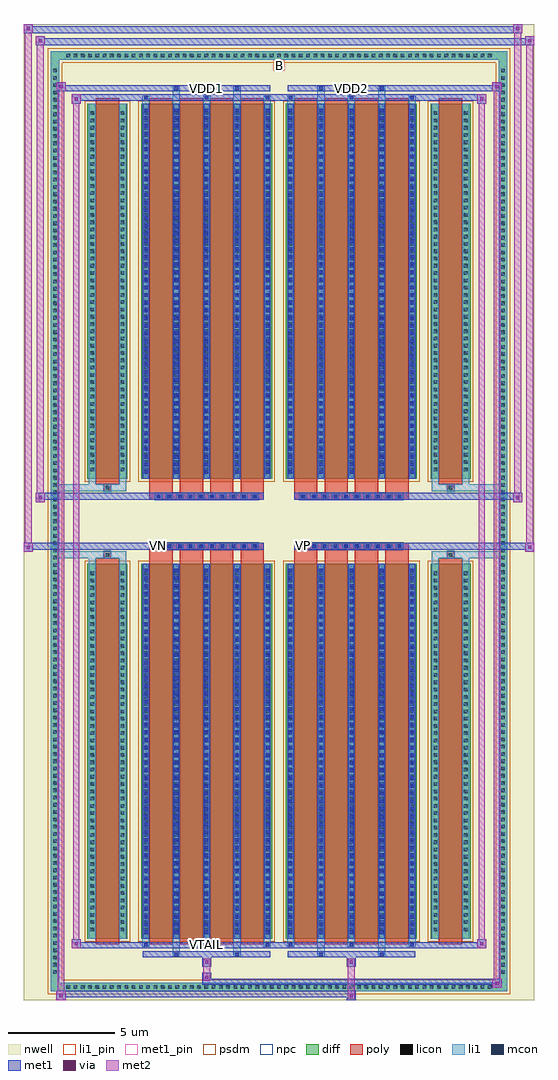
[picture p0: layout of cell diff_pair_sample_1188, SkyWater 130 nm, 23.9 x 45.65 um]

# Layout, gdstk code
import gdstk
lib = gdstk.Library(unit=1e-6, precision=5e-09)
def R(c, l, rs):  # rectangles x0, y0, x1, y1
    for r in rs: c.add(gdstk.rectangle(r[:2], r[2:], *l))
def A(c, l, x, y, w, h, nx, ny, dx, dy):  # array of equal rectangles
    R(c, l, [(x+i*dx, y+j*dy, x+i*dx+w, y+j*dy+h) for i in range(nx) for j in range(ny)])
def P(c, l, *ps):  # polygons
    for p in ps: c.add(gdstk.Polygon(p, *l))
nwell = (64, 20)
diff = (65, 20)
poly = (66, 20)
licon = (66, 44)
li1_pin = (67, 16)
li1 = (67, 20)
mcon = (67, 44)
met1_pin = (68, 16)
met1 = (68, 20)
via = (68, 44)
met2 = (69, 20)
psdm = (94, 20)
npc = (95, 20)

diff_pair_sample_1188 = lib.new_cell('diff_pair_sample_1188')
R(diff_pair_sample_1188, nwell, [(-11.95,-22.39,11.95,23.26), (-9.27,-20.58,-0.01,-0.8), (0.01,-20.58,9.27,-0.8), (-9.27,0.8,-0.01,20.58), (0.01,0.8,9.27,20.58)])
A(diff_pair_sample_1188, diff, -10.065, -21.99, 0.41, 0.41, 59, 2, 0.34, 43.57)
A(diff_pair_sample_1188, diff, -10.68, -21.285, 0.41, 0.41, 1, 125, 0, 0.34)
A(diff_pair_sample_1188, diff, 10.27, -21.285, 0.41, 0.41, 1, 125, 0, 0.34)
R(diff_pair_sample_1188, diff, [(-10.065,-21.99,10.065,-21.58), (-10.68,-21.285,-10.27,21.285), (10.27,-21.285,10.68,21.285), (-8.96,-19.535,-7.09,-1.985), (-6.45,-19.535,-0.32,-1.985), (0.32,-19.535,6.45,-1.985), (7.09,-19.535,8.96,-1.985), (-8.96,1.985,-7.09,19.535), (-6.45,1.985,-0.32,19.535), (0.32,1.985,6.45,19.535), (7.09,1.985,8.96,19.535), (-10.065,21.58,10.065,21.99)])
P(diff_pair_sample_1188, diff, [(10.68,21.99),(-10.68,21.99),(-10.68,-21.58),(-10.27,-21.58),(-10.27,21.58),(10.27,21.58),(10.27,-21.58),(-10.27,-21.58),(-10.68,-21.58),(-10.68,-21.99),(10.68,-21.99)])
A(diff_pair_sample_1188, poly, -6.06, -19.785, 1.09, 18.05, 4, 2, 1.42, 21.52)
A(diff_pair_sample_1188, poly, 0.71, -19.785, 1.09, 18.05, 4, 2, 1.42, 21.52)
A(diff_pair_sample_1188, poly, -6.06, -1.735, 1.09, 0.405, 4, 2, 1.42, 3.065)
A(diff_pair_sample_1188, poly, 0.71, -1.735, 1.09, 0.405, 4, 2, 1.42, 3.065)
A(diff_pair_sample_1188, poly, -5.8, -1.33, 0.33, 0.33, 10, 2, 0.5, 2.33)
A(diff_pair_sample_1188, poly, 0.97, -1.33, 0.33, 0.33, 10, 2, 0.5, 2.33)
R(diff_pair_sample_1188, poly, [(-8.57,-19.785,-7.48,-1.735), (7.48,-19.785,8.57,-1.735), (-8.19,-1.735,-7.86,-1.405), (-8.19,-1.735,-7.86,-1.405), (7.86,-1.735,8.19,-1.405), (7.86,-1.735,8.19,-1.405), (-6.06,-1.33,-0.71,-1), (0.71,-1.33,6.06,-1), (-6.06,1,-0.71,1.33), (0.71,1,6.06,1.33), (-8.19,1.405,-7.86,1.735), (-8.19,1.405,-7.86,1.735), (7.86,1.405,8.19,1.735), (7.86,1.405,8.19,1.735), (-8.57,1.735,-7.48,19.785), (7.48,1.735,8.57,19.785)])
A(diff_pair_sample_1188, licon, -9.945, -21.87, 0.17, 0.17, 59, 2, 0.34, 43.57)
A(diff_pair_sample_1188, licon, -10.56, -21.165, 0.17, 0.17, 1, 125, 0, 0.34)
A(diff_pair_sample_1188, licon, 10.39, -21.165, 0.17, 0.17, 1, 125, 0, 0.34)
A(diff_pair_sample_1188, licon, -8.82, -19.175, 0.17, 0.17, 1, 50, 0, 0.34)
A(diff_pair_sample_1188, licon, -7.4, -19.175, 0.17, 0.17, 1, 50, 0, 0.34)
A(diff_pair_sample_1188, licon, -6.31, -19.175, 0.17, 0.17, 5, 50, 1.42, 0.34)
A(diff_pair_sample_1188, licon, 0.46, -19.175, 0.17, 0.17, 5, 50, 1.42, 0.34)
A(diff_pair_sample_1188, licon, 7.23, -19.175, 0.17, 0.17, 1, 50, 0, 0.34)
A(diff_pair_sample_1188, licon, 8.65, -19.175, 0.17, 0.17, 1, 50, 0, 0.34)
A(diff_pair_sample_1188, licon, -5.72, -1.25, 0.17, 0.17, 10, 2, 0.5, 2.33)
A(diff_pair_sample_1188, licon, 1.05, -1.25, 0.17, 0.17, 10, 2, 0.5, 2.33)
A(diff_pair_sample_1188, licon, -8.82, 2.345, 0.17, 0.17, 1, 50, 0, 0.34)
A(diff_pair_sample_1188, licon, -7.4, 2.345, 0.17, 0.17, 1, 50, 0, 0.34)
A(diff_pair_sample_1188, licon, -6.31, 2.345, 0.17, 0.17, 5, 50, 1.42, 0.34)
A(diff_pair_sample_1188, licon, 0.46, 2.345, 0.17, 0.17, 5, 50, 1.42, 0.34)
A(diff_pair_sample_1188, licon, 7.23, 2.345, 0.17, 0.17, 1, 50, 0, 0.34)
A(diff_pair_sample_1188, licon, 8.65, 2.345, 0.17, 0.17, 1, 50, 0, 0.34)
R(diff_pair_sample_1188, licon, [(-8.11,-1.655,-7.94,-1.485), (7.94,-1.655,8.11,-1.485), (-8.11,1.485,-7.94,1.655), (7.94,1.485,8.11,1.655)])
R(diff_pair_sample_1188, li1_pin, [(-0.25,21.08,0.25,21.58)])
A(diff_pair_sample_1188, li1, -10.025, -21.95, 0.33, 0.33, 59, 2, 0.34, 43.57)
A(diff_pair_sample_1188, li1, -10.64, -21.245, 0.33, 0.33, 1, 125, 0, 0.34)
A(diff_pair_sample_1188, li1, 10.31, -21.245, 0.33, 0.33, 1, 125, 0, 0.34)
A(diff_pair_sample_1188, li1, -6.39, -19.91, 0.33, 0.375, 3, 2, 2.84, 39.445)
A(diff_pair_sample_1188, li1, -6.31, -19.91, 0.17, 0.17, 3, 2, 2.84, 39.65)
A(diff_pair_sample_1188, li1, 0.38, -19.91, 0.33, 0.375, 3, 2, 2.84, 39.445)
A(diff_pair_sample_1188, li1, 0.46, -19.91, 0.17, 0.17, 3, 2, 2.84, 39.65)
A(diff_pair_sample_1188, li1, -6.39, -19.535, 0.33, 17.55, 5, 2, 1.42, 21.52)
A(diff_pair_sample_1188, li1, 0.38, -19.535, 0.33, 17.55, 5, 2, 1.42, 21.52)
A(diff_pair_sample_1188, li1, -6.31, -19.305, 0.17, 0.17, 5, 48, 1.42, 0.36)
A(diff_pair_sample_1188, li1, -6.31, -19.305, 0.17, 17.09, 5, 2, 1.42, 21.52)
A(diff_pair_sample_1188, li1, 0.46, -19.305, 0.17, 0.17, 5, 48, 1.42, 0.36)
A(diff_pair_sample_1188, li1, 0.46, -19.305, 0.17, 17.09, 5, 2, 1.42, 21.52)
A(diff_pair_sample_1188, li1, -8.9, -19.255, 0.33, 0.33, 1, 50, 0, 0.34)
A(diff_pair_sample_1188, li1, -7.48, -19.255, 0.33, 0.33, 1, 50, 0, 0.34)
A(diff_pair_sample_1188, li1, -6.39, -19.255, 0.33, 0.33, 5, 50, 1.42, 0.34)
A(diff_pair_sample_1188, li1, 0.38, -19.255, 0.33, 0.33, 5, 50, 1.42, 0.34)
A(diff_pair_sample_1188, li1, 7.15, -19.255, 0.33, 0.33, 1, 50, 0, 0.34)
A(diff_pair_sample_1188, li1, 8.57, -19.255, 0.33, 0.33, 1, 50, 0, 0.34)
A(diff_pair_sample_1188, li1, -5.8, -1.33, 0.33, 0.33, 10, 2, 0.5, 2.33)
A(diff_pair_sample_1188, li1, 0.97, -1.33, 0.33, 0.33, 10, 2, 0.5, 2.33)
A(diff_pair_sample_1188, li1, -6.31, 2.215, 0.17, 0.17, 5, 48, 1.42, 0.36)
A(diff_pair_sample_1188, li1, 0.46, 2.215, 0.17, 0.17, 5, 48, 1.42, 0.36)
A(diff_pair_sample_1188, li1, -8.9, 2.265, 0.33, 0.33, 1, 50, 0, 0.34)
A(diff_pair_sample_1188, li1, -7.48, 2.265, 0.33, 0.33, 1, 50, 0, 0.34)
A(diff_pair_sample_1188, li1, -6.39, 2.265, 0.33, 0.33, 5, 50, 1.42, 0.34)
A(diff_pair_sample_1188, li1, 0.38, 2.265, 0.33, 0.33, 5, 50, 1.42, 0.34)
A(diff_pair_sample_1188, li1, 7.15, 2.265, 0.33, 0.33, 1, 50, 0, 0.34)
A(diff_pair_sample_1188, li1, 8.57, 2.265, 0.33, 0.33, 1, 50, 0, 0.34)
R(diff_pair_sample_1188, li1, [(-10.68,-21.99,-10.27,-21.58), (-10.68,-21.99,-10.27,-21.58), (-10.27,-21.99,10.27,-21.58), (10.27,-21.99,10.68,-21.58), (10.27,-21.99,10.68,-21.58), (-10.68,-21.58,-10.27,21.58), (10.27,-21.58,10.68,21.58), (-4.97,-20.34,-4.64,-19.535), (-4.89,-20.34,-4.72,-20.17), (-2.13,-20.34,-1.8,-19.535), (-2.05,-20.34,-1.88,-20.17), (1.8,-20.34,2.13,-19.535), (1.88,-20.34,2.05,-20.17), (4.64,-20.34,4.97,-19.535), (4.72,-20.34,4.89,-20.17), (-8.9,-19.535,-8.57,-1.985), (-7.48,-19.535,-7.15,-1.985), (7.15,-19.535,7.48,-1.985), (8.57,-19.535,8.9,-1.985), (-8.9,-1.985,-8.57,-1.405), (-7.48,-1.985,-7.15,-1.405), (7.15,-1.985,7.48,-1.405), (8.57,-1.985,8.9,-1.405), (-10.68,-1.735,-8.19,-1.405), (-8.9,-1.735,-8.19,-1.405), (-8.19,-1.735,-7.86,-1.405), (-7.86,-1.735,-7.15,-1.405), (7.15,-1.735,7.86,-1.405), (7.86,-1.735,8.19,-1.405), (7.86,-1.735,10.68,-1.405), (8.19,-1.735,8.9,-1.405), (-10.68,1.405,-8.19,1.735), (-8.9,1.405,-8.19,1.735), (-8.9,1.405,-8.57,1.985), (-8.19,1.405,-7.86,1.735), (-7.86,1.405,-7.15,1.735), (-7.48,1.405,-7.15,1.985), (7.15,1.405,7.86,1.735), (7.15,1.405,7.48,1.985), (7.86,1.405,8.19,1.735), (7.86,1.405,10.68,1.735), (8.19,1.405,8.9,1.735), (8.57,1.405,8.9,1.985), (-8.9,1.985,-8.57,19.535), (-7.48,1.985,-7.15,19.535), (7.15,1.985,7.48,19.535), (8.57,1.985,8.9,19.535), (-4.97,19.535,-4.64,20.34), (-2.13,19.535,-1.8,20.34), (1.8,19.535,2.13,20.34), (4.64,19.535,4.97,20.34), (-4.89,20.17,-4.72,20.34), (-2.05,20.17,-1.88,20.34), (1.88,20.17,2.05,20.34), (4.72,20.17,4.89,20.34), (-10.68,21.58,-10.27,21.99), (-10.68,21.58,-10.27,21.99), (-10.27,21.58,10.27,21.99), (10.27,21.58,10.68,21.99), (10.27,21.58,10.68,21.99)])
A(diff_pair_sample_1188, mcon, -6.31, -19.91, 0.17, 0.17, 3, 2, 2.84, 39.65)
A(diff_pair_sample_1188, mcon, 0.46, -19.91, 0.17, 0.17, 3, 2, 2.84, 39.65)
A(diff_pair_sample_1188, mcon, -6.31, -19.305, 0.17, 0.17, 5, 48, 1.42, 0.36)
A(diff_pair_sample_1188, mcon, 0.46, -19.305, 0.17, 0.17, 5, 48, 1.42, 0.36)
A(diff_pair_sample_1188, mcon, -5.72, -1.25, 0.17, 0.17, 10, 2, 0.5, 2.33)
A(diff_pair_sample_1188, mcon, 1.05, -1.25, 0.17, 0.17, 10, 2, 0.5, 2.33)
A(diff_pair_sample_1188, mcon, -6.31, 2.215, 0.17, 0.17, 5, 48, 1.42, 0.36)
A(diff_pair_sample_1188, mcon, 0.46, 2.215, 0.17, 0.17, 5, 48, 1.42, 0.36)
R(diff_pair_sample_1188, mcon, [(-4.89,-20.34,-4.72,-20.17), (-2.05,-20.34,-1.88,-20.17), (1.88,-20.34,2.05,-20.17), (4.72,-20.34,4.89,-20.17), (-4.89,20.17,-4.72,20.34), (-2.05,20.17,-1.88,20.34), (1.88,20.17,2.05,20.34), (4.72,20.17,4.89,20.34)])
R(diff_pair_sample_1188, met1_pin, [(-3.52,-19.95,-3.25,-19.68), (-5.77,-1.29,-5.5,-1.02), (1,-1.29,1.27,-1.02), (-3.52,20.13,-3.25,20.4), (3.25,20.13,3.52,20.4)])
A(diff_pair_sample_1188, met1, -6.37, -19.97, 0.29, 0.29, 3, 2, 2.84, 39.65)
A(diff_pair_sample_1188, met1, 0.4, -19.97, 0.29, 0.29, 3, 2, 2.84, 39.65)
A(diff_pair_sample_1188, met1, -6.37, -19.535, 0.29, 17.55, 5, 2, 1.42, 21.52)
A(diff_pair_sample_1188, met1, 0.4, -19.535, 0.29, 17.55, 5, 2, 1.42, 21.52)
A(diff_pair_sample_1188, met1, -6.37, -19.365, 0.29, 0.29, 5, 48, 1.42, 0.36)
A(diff_pair_sample_1188, met1, 0.4, -19.365, 0.29, 0.29, 5, 48, 1.42, 0.36)
A(diff_pair_sample_1188, met1, -5.78, -1.31, 0.29, 0.29, 10, 2, 0.5, 2.33)
A(diff_pair_sample_1188, met1, 0.99, -1.31, 0.29, 0.29, 10, 2, 0.5, 2.33)
A(diff_pair_sample_1188, met1, -6.37, 2.155, 0.29, 0.29, 5, 48, 1.42, 0.36)
A(diff_pair_sample_1188, met1, 0.4, 2.155, 0.29, 0.29, 5, 48, 1.42, 0.36)
R(diff_pair_sample_1188, met1, [(-10.41,-22.39,-9.98,-21.96), (3.17,-22.39,3.6,-21.96), (-10.41,-22.25,3.6,-21.96), (9.98,-21.82,10.41,-21.39), (-3.6,-21.68,10.41,-21.39), (-3.6,-21.54,-3.17,-21.11), (-3.6,-20.83,-3.17,-20.4), (3.17,-20.83,3.6,-20.4), (-6.37,-20.4,-0.4,-20.11), (-4.95,-20.4,-4.66,-20.11), (-2.11,-20.4,-1.82,-20.11), (0.4,-20.4,6.37,-20.11), (1.82,-20.4,2.11,-20.11), (4.66,-20.4,4.95,-20.11), (-9.7,-19.97,-9.27,-19.54), (-9.7,-19.97,-6.37,-19.68), (-6.37,-19.97,-0.4,-19.68), (-0.4,-19.97,0.4,-19.68), (0.4,-19.97,6.37,-19.68), (6.37,-19.97,9.7,-19.68), (9.27,-19.97,9.7,-19.54), (-11.95,-1.43,-11.52,-1), (11.52,-1.43,11.95,-1), (-11.95,-1.33,-0.71,-1), (-6.06,-1.33,-0.71,-1), (0.71,-1.33,6.06,-1), (0.71,-1.33,11.95,-1), (-11.38,0.9,-10.95,1.33), (10.95,0.9,11.38,1.33), (-11.38,1,-6.06,1.33), (-6.06,1,-0.71,1.33), (0.71,1,6.06,1.33), (6.06,1,11.38,1.33), (-9.7,19.54,-9.27,19.97), (9.27,19.54,9.7,19.97), (-9.7,19.68,-6.37,19.97), (-6.37,19.68,-0.4,19.97), (-0.4,19.68,0.4,19.97), (0.4,19.68,6.37,19.97), (6.37,19.68,9.7,19.97), (-10.41,20.11,-9.98,20.54), (-10.41,20.11,-6.37,20.4), (-6.37,20.11,-0.4,20.4), (-4.95,20.11,-4.66,20.4), (-2.11,20.11,-1.82,20.4), (0.4,20.11,6.37,20.4), (1.82,20.11,2.11,20.4), (4.66,20.11,4.95,20.4), (6.37,20.11,10.41,20.4), (9.98,20.11,10.41,20.54), (-11.38,22.26,-10.95,22.69), (-11.38,22.26,-9.27,22.59), (-9.27,22.26,9.27,22.59), (9.27,22.26,11.95,22.59), (11.52,22.26,11.95,22.69), (-11.95,22.83,-11.52,23.26), (-11.95,22.83,-9.27,23.16), (-9.27,22.83,9.27,23.16), (9.27,22.83,11.38,23.16), (10.95,22.83,11.38,23.26)])
R(diff_pair_sample_1188, via, [(-10.27,-22.25,-10.12,-22.1), (3.31,-22.25,3.46,-22.1), (10.12,-21.68,10.27,-21.53), (-3.46,-21.4,-3.31,-21.25), (-3.46,-20.69,-3.31,-20.54), (3.31,-20.69,3.46,-20.54), (-9.56,-19.83,-9.41,-19.68), (9.41,-19.83,9.56,-19.68), (-11.81,-1.29,-11.66,-1.14), (11.66,-1.29,11.81,-1.14), (-11.24,1.04,-11.09,1.19), (11.09,1.04,11.24,1.19), (-9.56,19.68,-9.41,19.83), (9.41,19.68,9.56,19.83), (-10.27,20.25,-10.12,20.4), (10.12,20.25,10.27,20.4), (-11.24,22.4,-11.09,22.55), (11.66,22.4,11.81,22.55), (-11.81,22.97,-11.66,23.12), (11.09,22.97,11.24,23.12)])
R(diff_pair_sample_1188, met2, [(-10.41,-22.39,-9.98,-21.96), (-10.34,-22.39,-10.05,20.54), (-10.05,-22.39,-9.98,-21.96), (-10.36,-22.34,-10.03,-22.01), (3.22,-22.34,3.55,-22.01), (3.22,-22.01,3.55,-20.78), (9.98,-21.82,10.41,-21.39), (10.05,-21.82,10.34,20.54), (10.34,-21.82,10.41,-21.39), (10.03,-21.77,10.36,-21.44), (-3.55,-21.49,-3.22,-21.16), (-3.55,-21.16,-3.22,-20.78), (-3.55,-20.78,-3.22,-20.45), (3.22,-20.78,3.55,-20.45), (-9.7,-19.97,-9.27,-19.54), (-9.63,-19.97,-9.34,19.97), (-9.34,-19.97,-9.27,-19.54), (9.27,-19.97,9.7,-19.54), (9.34,-19.97,9.63,19.97), (9.63,-19.97,9.7,-19.54), (-9.65,-19.92,-9.32,-19.59), (9.32,-19.92,9.65,-19.59), (-11.95,-1.43,-11.52,-1), (-11.9,-1.43,-11.57,23.26), (-11.57,-1.43,-11.52,-1), (11.52,-1.43,11.95,-1), (11.57,-1.43,11.9,22.69), (11.9,-1.43,11.95,-1), (-11.9,-1.38,-11.57,-1.05), (11.57,-1.38,11.9,-1.05), (-11.38,0.9,-10.95,1.33), (-11.33,0.9,-11,22.69), (-11,0.9,-10.95,1.33), (10.95,0.9,11.38,1.33), (11,0.9,11.33,23.26), (11.33,0.9,11.38,1.33), (-11.33,0.95,-11,1.28), (11,0.95,11.33,1.28), (-9.7,19.54,-9.27,19.97), (-9.34,19.54,-9.27,19.97), (9.27,19.54,9.7,19.97), (9.63,19.54,9.7,19.97), (-9.65,19.59,-9.32,19.92), (9.32,19.59,9.65,19.92), (-10.41,20.11,-9.98,20.54), (-10.05,20.11,-9.98,20.54), (9.98,20.11,10.41,20.54), (10.34,20.11,10.41,20.54), (-10.36,20.16,-10.03,20.49), (10.03,20.16,10.36,20.49), (-11.38,22.26,-10.95,22.69), (-11,22.26,-10.95,22.69), (11.52,22.26,11.95,22.69), (11.9,22.26,11.95,22.69), (-11.33,22.31,-11,22.64), (11.57,22.31,11.9,22.64), (-11.95,22.83,-11.52,23.26), (-11.57,22.83,-11.52,23.26), (10.95,22.83,11.38,23.26), (11.33,22.83,11.38,23.26), (-11.9,22.88,-11.57,23.21), (11,22.88,11.33,23.21)])
R(diff_pair_sample_1188, psdm, [(-9.09,-19.665,-6.96,-1.855), (-6.58,-19.665,-0.19,-1.855), (0.19,-19.665,6.58,-1.855), (6.96,-19.665,9.09,-1.855), (-9.09,1.855,-6.96,19.665), (-6.58,1.855,-0.19,19.665), (0.19,1.855,6.58,19.665), (6.96,1.855,9.09,19.665)])
P(diff_pair_sample_1188, psdm, [(10.81,22.12),(-10.81,22.12),(-10.81,-21.45),(-10.14,-21.45),(-10.14,21.45),(10.14,21.45),(10.14,-21.45),(-10.14,-21.45),(-10.81,-21.45),(-10.81,-22.12),(10.81,-22.12)])
A(diff_pair_sample_1188, npc, -5.82, -1.35, 0.37, 0.37, 10, 2, 0.5, 2.33)
A(diff_pair_sample_1188, npc, 0.95, -1.35, 0.37, 0.37, 10, 2, 0.5, 2.33)
R(diff_pair_sample_1188, npc, [(-8.21,-1.755,-7.84,-1.385), (7.84,-1.755,8.21,-1.385), (-5.82,-1.35,-4.95,-0.98), (-5.82,-1.35,-4.95,-0.98), (-5.32,-1.35,-4.45,-0.98), (-5.32,-1.35,-4.45,-0.98), (-4.82,-1.35,-3.95,-0.98), (-4.82,-1.35,-3.95,-0.98), (-4.32,-1.35,-3.45,-0.98), (-4.32,-1.35,-3.45,-0.98), (-3.82,-1.35,-2.95,-0.98), (-3.82,-1.35,-2.95,-0.98), (-3.32,-1.35,-2.45,-0.98), (-3.32,-1.35,-2.45,-0.98), (-2.82,-1.35,-1.95,-0.98), (-2.82,-1.35,-1.95,-0.98), (-2.32,-1.35,-1.45,-0.98), (-2.32,-1.35,-1.45,-0.98), (-1.82,-1.35,-0.95,-0.98), (-1.82,-1.35,-0.95,-0.98), (0.95,-1.35,1.82,-0.98), (0.95,-1.35,1.82,-0.98), (1.45,-1.35,2.32,-0.98), (1.45,-1.35,2.32,-0.98), (1.95,-1.35,2.82,-0.98), (1.95,-1.35,2.82,-0.98), (2.45,-1.35,3.32,-0.98), (2.45,-1.35,3.32,-0.98), (2.95,-1.35,3.82,-0.98), (2.95,-1.35,3.82,-0.98), (3.45,-1.35,4.32,-0.98), (3.45,-1.35,4.32,-0.98), (3.95,-1.35,4.82,-0.98), (3.95,-1.35,4.82,-0.98), (4.45,-1.35,5.32,-0.98), (4.45,-1.35,5.32,-0.98), (4.95,-1.35,5.82,-0.98), (4.95,-1.35,5.82,-0.98), (-5.82,0.98,-4.95,1.35), (-5.82,0.98,-4.95,1.35), (-5.32,0.98,-4.45,1.35), (-5.32,0.98,-4.45,1.35), (-4.82,0.98,-3.95,1.35), (-4.82,0.98,-3.95,1.35), (-4.32,0.98,-3.45,1.35), (-4.32,0.98,-3.45,1.35), (-3.82,0.98,-2.95,1.35), (-3.82,0.98,-2.95,1.35), (-3.32,0.98,-2.45,1.35), (-3.32,0.98,-2.45,1.35), (-2.82,0.98,-1.95,1.35), (-2.82,0.98,-1.95,1.35), (-2.32,0.98,-1.45,1.35), (-2.32,0.98,-1.45,1.35), (-1.82,0.98,-0.95,1.35), (-1.82,0.98,-0.95,1.35), (0.95,0.98,1.82,1.35), (0.95,0.98,1.82,1.35), (1.45,0.98,2.32,1.35), (1.45,0.98,2.32,1.35), (1.95,0.98,2.82,1.35), (1.95,0.98,2.82,1.35), (2.45,0.98,3.32,1.35), (2.45,0.98,3.32,1.35), (2.95,0.98,3.82,1.35), (2.95,0.98,3.82,1.35), (3.45,0.98,4.32,1.35), (3.45,0.98,4.32,1.35), (3.95,0.98,4.82,1.35), (3.95,0.98,4.82,1.35), (4.45,0.98,5.32,1.35), (4.45,0.98,5.32,1.35), (4.95,0.98,5.82,1.35), (4.95,0.98,5.82,1.35), (-8.21,1.385,-7.84,1.755), (7.84,1.385,8.21,1.755)])
diff_pair_sample_1188.add(gdstk.Label('VTAIL', (-3.385,-19.815), layer=68, texttype=5))
diff_pair_sample_1188.add(gdstk.Label('VN', (-5.635,-1.155), layer=68, texttype=5))
diff_pair_sample_1188.add(gdstk.Label('VP', (1.135,-1.155), layer=68, texttype=5))
diff_pair_sample_1188.add(gdstk.Label('B', (0,21.33), layer=67, texttype=5))
diff_pair_sample_1188.add(gdstk.Label('VDD2', (3.385,20.265), layer=68, texttype=5))
diff_pair_sample_1188.add(gdstk.Label('VDD1', (-3.385,20.265), layer=68, texttype=5))

lib.write_gds('diff_pair_sample_1188.gds')
